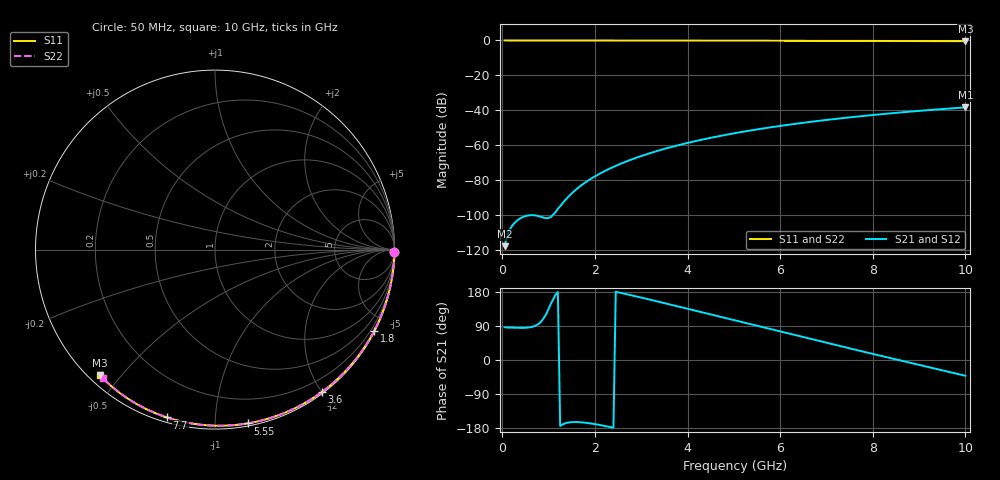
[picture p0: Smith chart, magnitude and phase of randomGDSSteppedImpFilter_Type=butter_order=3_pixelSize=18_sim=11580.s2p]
! freq	dB(S11)	phase(S11)	dB(S12)	phase(S12)
!  dB(S21)	phase(S21)	dB(S22)	phase(S22)
!S-par simulation data
#  GHz  S  DB  R 50
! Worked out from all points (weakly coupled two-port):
!   200 points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, 50 MHz to 10 GHz, reference 50 ohm
!   highest |S21| = -38.39 dB at 10 GHz (marker M1); lowest = -118.0 dB at 50 MHz (marker M2)
!   lowest |S11| = -0.4 dB at 10 GHz (marker M3), VSWR 39.06, Z = 1.53 - j22 ohm
!   |S11| at or under -10 dB: nowhere
!   |S22| runs from -0.4 to 0.0 dB; largest |S21 - S12| = 0
!   S11 on the Smith chart (normalised r, x): 50 MHz: open; 1.8 GHz: 0.04, -4.13; 3.6 GHz: 0.02, -2.00; 5.55 GHz: 0.02, -1.20; 7.7 GHz: 0.02, -0.75; 10 GHz: 0.03, -0.44
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0.05  -0.00 -0.8  -118.02 86.5  -118.02 86.5  -0.00 -0.8
0.45  -0.01 -6.9  -101.25 84.7  -101.25 84.7  -0.01 -6.8
0.9  -0.02 -13.7  -101.74 111.6  -101.74 111.6  -0.02 -13.6
1.75  -0.03 -26.5  -82.27 -164.9  -82.27 -164.9  -0.03 -26.2
1.8  -0.03 -27.2  -81.34 -165.6  -81.34 -165.6  -0.03 -26.9
1.85  -0.04 -27.9  -80.45 -166.4  -80.45 -166.4  -0.04 -27.6
1.9  -0.04 -28.7  -79.59 -167.3  -79.59 -167.3  -0.04 -28.4
2.05  -0.04 -30.9  -77.22 -170.3  -77.22 -170.3  -0.04 -30.6
2.25  -0.04 -33.8  -74.42 -174.9  -74.42 -174.9  -0.04 -33.5
2.65  -0.05 -39.6  -69.72 174.6  -69.72 174.6  -0.05 -39.2
3  -0.06 -44.7  -66.31 164.7  -66.31 164.7  -0.06 -44.2
3.4  -0.07 -50.4  -62.98 153.1  -62.98 153.1  -0.07 -49.8
3.6  -0.07 -53.2  -61.49 147.2  -61.49 147.2  -0.07 -52.6
4.3  -0.09 -62.8  -56.98 126.2  -56.98 126.2  -0.09 -62.2
5.05  -0.11 -72.9  -53.06 103.6  -53.06 103.6  -0.11 -72.1
5.55  -0.13 -79.4  -50.83 88.6  -50.83 88.6  -0.13 -78.6
6.1  -0.15 -86.4  -48.66 72.1  -48.66 72.1  -0.15 -85.5
6.7  -0.18 -93.9  -46.56 54.3  -46.56 54.3  -0.18 -92.9
7.7  -0.24 -105.9  -43.57 24.8  -43.57 24.8  -0.24 -104.9
8.35  -0.29 -113.6  -41.90 5.9  -41.90 5.9  -0.29 -112.5
9.15  -0.36 -122.8  -40.08 -17.2  -40.08 -17.2  -0.36 -121.6
10  -0.44 -132.5  -38.39 -41.6  -38.39 -41.6  -0.44 -131.2
